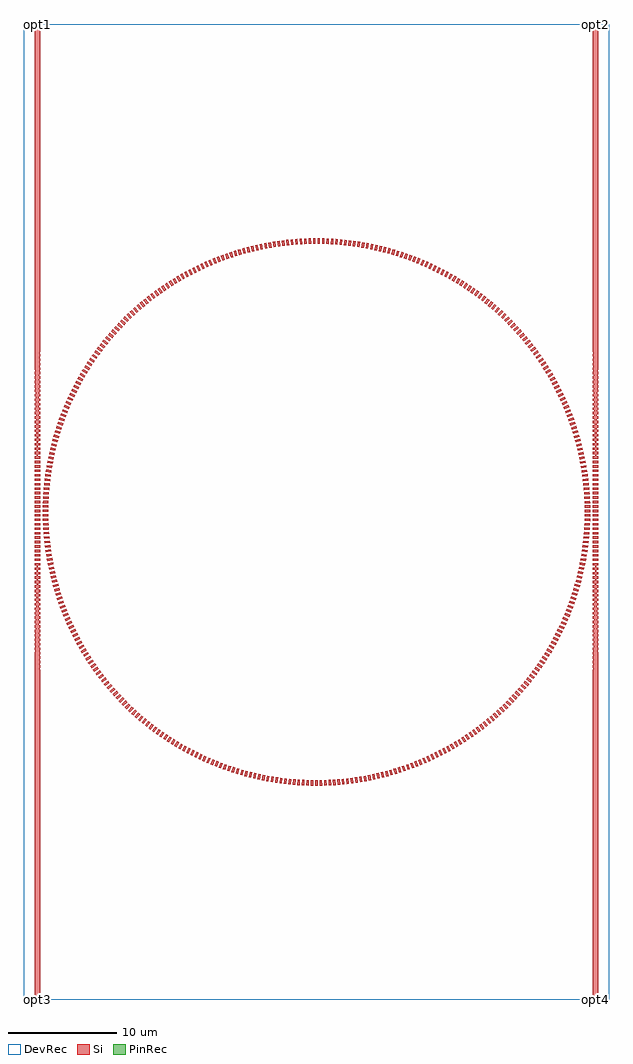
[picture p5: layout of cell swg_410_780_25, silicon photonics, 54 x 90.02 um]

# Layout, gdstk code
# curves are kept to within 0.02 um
import gdstk
lib = gdstk.Library(unit=1e-6, precision=1e-09)
def R(c, l, rs):  # rectangles x0, y0, x1, y1
    for r in rs: c.add(gdstk.rectangle(r[:2], r[2:], *l))
def A(c, l, x, y, w, h, nx, ny, dx, dy):  # array of equal rectangles
    R(c, l, [(x+i*dx, y+j*dy, x+i*dx+w, y+j*dy+h) for i in range(nx) for j in range(ny)])
def P(c, l, *ps):  # polygons
    for p in ps: c.add(gdstk.Polygon(p, *l))
Si = (1, 0)
PinRec = (1, 10)
DevRec = (68, 0)

swg_410_780_25 = lib.new_cell('swg_410_780_25')
A(swg_410_780_25, Si, 0, 40.49, 0.5, 0.205, 1, 23, 0, 0.41)
A(swg_410_780_25, Si, 51.5, 40.49, 0.5, 0.205, 1, 23, 0, 0.41)
P(swg_410_780_25, Si, [(25.894,19.758),(25.896,20.258),(26.099,20.258),(26.101,19.758)],
  [(36.879,67.222),(36.697,67.31),(36.913,67.761),(37.099,67.671)],
  [(37.242,67.04),(37.061,67.132),(37.285,67.579),(37.469,67.486)],
  [(39.01,66.045),(38.837,66.151),(39.097,66.579),(39.273,66.471)],
  [(36.513,67.397),(36.329,67.483),(36.538,67.937),(36.726,67.85)],
  [(51.5,49.92),(51.5,50.125),(51.716,50.125),(51.712,50.33),(51.5,50.33),(51.5,50.535),(51.707,50.535),(51.703,50.74),(51.5,50.74),(51.5,50.945),(51.698,50.945),(51.694,51.15),(51.5,51.15),(51.5,51.355),(51.689,51.355),(51.685,51.56),(51.5,51.56),(51.5,51.765),(51.68,51.765),(51.676,51.97),(51.5,51.97),(51.5,52.175),(51.671,52.175),(51.667,52.38),(51.5,52.38),(51.5,52.585),(51.662,52.585),(51.658,52.79),(51.5,52.79),(51.5,52.995),(51.653,52.995),(51.649,53.2),(51.5,53.2),(51.5,53.405),(51.644,53.405),(51.64,53.61),(51.5,53.61),(51.5,53.815),(51.635,53.815),(51.631,54.02),(51.5,54.02),(51.5,54.225),(51.626,54.225),(51.622,54.43),(51.5,54.43),(51.5,54.635),(51.617,54.635),(51.613,54.84),(51.5,54.84),(51.5,55.045),(51.608,55.045),(51.604,55.25),(51.5,55.25),(51.5,55.455),(51.599,55.455),(51.595,55.66),(51.5,55.66),(51.5,55.865),(51.59,55.865),(51.586,56.07),(51.5,56.07),(51.5,56.275),(51.581,56.275),(51.577,56.48),(51.5,56.48),(51.5,56.685),(51.572,56.685),(51.568,56.89),(51.5,56.89),(51.5,57.095),(51.563,57.095),(51.559,57.3),(51.5,57.3),(51.5,57.505),(51.554,57.505),(51.55,57.71),(51.5,57.71),(51.5,57.915),(51.545,57.915),(51.541,58.12),(51.5,58.12),(51.5,58.325),(51.536,58.325),(51.532,58.53),(51.5,58.53),(51.5,58.735),(51.527,58.735),(51.523,58.94),(51.5,58.94),(51.5,90),(52,90),(52,58.94),(51.977,58.94),(51.973,58.735),(52,58.735),(52,58.53),(51.968,58.53),(51.964,58.325),(52,58.325),(52,58.12),(51.959,58.12),(51.955,57.915),(52,57.915),(52,57.71),(51.95,57.71),(51.946,57.505),(52,57.505),(52,57.3),(51.941,57.3),(51.937,57.095),(52,57.095),(52,56.89),(51.932,56.89),(51.928,56.685),(52,56.685),(52,56.48),(51.923,56.48),(51.919,56.275),(52,56.275),(52,56.07),(51.914,56.07),(51.91,55.865),(52,55.865),(52,55.66),(51.905,55.66),(51.901,55.455),(52,55.455),(52,55.25),(51.896,55.25),(51.892,55.045),(52,55.045),(52,54.84),(51.887,54.84),(51.883,54.635),(52,54.635),(52,54.43),(51.878,54.43),(51.874,54.225),(52,54.225),(52,54.02),(51.869,54.02),(51.865,53.815),(52,53.815),(52,53.61),(51.86,53.61),(51.856,53.405),(52,53.405),(52,53.2),(51.851,53.2),(51.847,52.995),(52,52.995),(52,52.79),(51.842,52.79),(51.838,52.585),(52,52.585),(52,52.38),(51.833,52.38),(51.829,52.175),(52,52.175),(52,51.97),(51.824,51.97),(51.82,51.765),(52,51.765),(52,51.56),(51.815,51.56),(51.811,51.355),(52,51.355),(52,51.15),(51.806,51.15),(51.802,50.945),(52,50.945),(52,50.74),(51.797,50.74),(51.793,50.535),(52,50.535),(52,50.33),(51.788,50.33),(51.784,50.125),(52,50.125),(52,49.92)],
  [(29.138,69.542),(28.937,69.567),(28.996,70.064),(29.201,70.038)],
  [(31.929,69.021),(31.732,69.069),(31.848,69.555),(32.049,69.507)],
  [(29.54,69.488),(29.339,69.516),(29.407,70.011),(29.612,69.982)],
  [(27.117,69.717),(26.914,69.725),(26.932,70.225),(27.139,70.216)],
  [(27.927,69.667),(27.725,69.682),(27.759,70.181),(27.966,70.165)],
  [(33.492,68.581),(33.298,68.641),(33.446,69.119),(33.643,69.057)],
  [(31.138,69.203),(30.94,69.244),(31.039,69.734),(31.242,69.692)],
  [(35.399,67.887),(35.211,67.964),(35.397,68.428),(35.589,68.35)],
  [(33.878,68.455),(33.685,68.518),(33.84,68.994),(34.037,68.928)],
  [(27.522,69.695),(27.319,69.707),(27.346,70.206),(27.553,70.194)],
  [(28.735,69.59),(28.533,69.612),(28.584,70.109),(28.79,70.087)],
  [(31.535,69.115),(31.337,69.16),(31.444,69.648),(31.646,69.602)],
  [(32.714,68.814),(32.519,68.868),(32.65,69.35),(32.85,69.295)],
  [(26.711,69.732),(26.508,69.737),(26.518,70.237),(26.725,70.232)],
  [(30.741,69.284),(30.541,69.322),(30.633,69.813),(30.836,69.774)],
  [(34.261,68.322),(34.07,68.389),(34.233,68.862),(34.428,68.793)],
  [(34.643,68.183),(34.452,68.254),(34.623,68.724),(34.817,68.652)],
  [(35.773,67.73),(35.586,67.81),(35.78,68.271),(35.97,68.19)],
  [(33.104,68.7),(32.909,68.758),(33.049,69.238),(33.248,69.179)],
  [(28.331,69.632),(28.129,69.65),(28.172,70.148),(28.378,70.13)],
  [(35.022,68.039),(34.833,68.112),(35.011,68.579),(35.204,68.504)],
  [(29.941,69.426),(29.741,69.458),(29.817,69.952),(30.021,69.92)],
  [(30.342,69.358),(30.142,69.393),(30.225,69.886),(30.429,69.85)],
  [(32.323,68.921),(32.126,68.972),(32.25,69.456),(32.45,69.404)],
  [(26.305,69.74),(26.102,69.742),(26.104,70.242),(26.311,70.24)],
  [(36.144,67.567),(35.959,67.649),(36.16,68.107),(36.349,68.023)],
  [(38.663,66.256),(38.489,66.359),(38.741,66.791),(38.919,66.685)],
  [(37.959,66.66),(37.781,66.757),(38.019,67.197),(38.201,67.098)],
  [(38.313,66.461),(38.136,66.561),(38.382,66.997),(38.562,66.894)],
  [(37.602,66.853),(37.423,66.948),(37.654,67.391),(37.837,67.295)],
  [(50.622,47.431),(50.602,47.633),(51.099,47.687),(51.12,47.481)],
  [(39.354,65.829),(39.182,65.938),(39.449,66.361),(39.624,66.25)],
  [(44.572,61.348),(44.437,61.5),(44.81,61.833),(44.947,61.679)],
  [(48.525,55.236),(48.441,55.42),(48.894,55.631),(48.981,55.443)],
  [(50.729,45.812),(50.721,46.014),(51.221,46.035),(51.229,45.828)],
  [(46.992,58.096),(46.884,58.267),(47.306,58.536),(47.416,58.36)],
  [(43.46,62.531),(43.315,62.673),(43.665,63.031),(43.813,62.885)],
  [(44.025,61.949),(43.886,62.096),(44.247,62.441),(44.39,62.291)],
  [(47.411,57.4),(47.308,57.575),(47.739,57.829),(47.843,57.651)],
  [(49.148,53.737),(49.076,53.927),(49.542,54.107),(49.616,53.914)],
  [(50.473,48.64),(50.442,48.84),(50.936,48.918),(50.967,48.713)],
  [(42.273,63.638),(42.119,63.771),(42.445,64.15),(42.601,64.015)],
  [(46.775,58.438),(46.664,58.608),(47.081,58.883),(47.194,58.71)],
  [(50.264,49.839),(50.224,50.038),(50.713,50.14),(50.755,49.937)],
  [(46.088,59.444),(45.969,59.608),(46.373,59.904),(46.494,59.736)],
  [(49.288,53.356),(49.219,53.547),(49.688,53.72),(49.759,53.525)],
  [(46.551,58.777),(46.438,58.945),(46.851,59.227),(46.967,59.056)],
  [(50.092,50.633),(50.045,50.83),(50.531,50.948),(50.579,50.746)],
  [(50.689,46.622),(50.675,46.825),(51.173,46.862),(51.188,46.655)],
  [(43.745,62.242),(43.603,62.387),(43.959,62.738),(44.104,62.591)],
  [(47.995,56.332),(47.901,56.512),(48.343,56.744),(48.439,56.561)],
  [(49.002,54.116),(48.926,54.304),(49.389,54.492),(49.467,54.3)],
  [(50.739,45.406),(50.735,45.609),(51.234,45.621),(51.239,45.414)],
  [(45.098,60.73),(44.968,60.886),(45.352,61.207),(45.484,61.048)],
  [(50.182,50.237),(50.138,50.435),(50.626,50.545),(50.67,50.342)],
  [(41.336,64.416),(41.176,64.541),(41.483,64.936),(41.646,64.808)],
  [(50.742,45),(50.741,45.203),(51.241,45.207),(51.242,45)],
  [(48.178,55.969),(48.087,56.151),(48.533,56.376),(48.626,56.191)],
  [(44.837,61.041),(44.705,61.195),(45.083,61.523),(45.218,61.366)],
  [(49.422,52.973),(49.356,53.165),(49.828,53.33),(49.896,53.134)],
  [(49.55,52.588),(49.487,52.781),(49.962,52.938),(50.026,52.741)],
  [(49.997,51.027),(49.947,51.224),(50.43,51.349),(50.482,51.149)],
  [(50.712,46.217),(50.701,46.42),(51.201,46.449),(51.212,46.242)],
  [(41.652,64.162),(41.495,64.289),(41.808,64.679),(41.969,64.549)],
  [(45.849,59.772),(45.727,59.934),(46.125,60.236),(46.25,60.07)],
  [(50.41,49.041),(50.376,49.241),(50.869,49.326),(50.903,49.122)],
  [(40.362,65.147),(40.197,65.264),(40.483,65.674),(40.653,65.554)],
  [(48.69,54.865),(48.609,55.051),(49.066,55.254),(49.149,55.065)],
  [(40.691,64.909),(40.527,65.028),(40.821,65.433),(40.988,65.311)],
  [(49.895,51.42),(49.841,51.616),(50.323,51.749),(50.378,51.55)],
  [(47.611,57.047),(47.511,57.224),(47.946,57.471),(48.048,57.291)],
  [(45.353,60.415),(45.226,60.573),(45.615,60.888),(45.745,60.726)],
  [(48.354,55.604),(48.267,55.787),(48.717,56.005),(48.806,55.818)],
  [(50.529,48.238),(50.502,48.439),(50.997,48.508),(51.025,48.303)],
  [(48.849,54.492),(48.77,54.679),(49.231,54.874),(49.311,54.683)],
  [(39.694,65.607),(39.524,65.719),(39.797,66.137),(39.97,66.024)],
  [(45.604,60.095),(45.479,60.256),(45.873,60.564),(46,60.4)],
  [(50.659,47.027),(50.641,47.229),(51.139,47.274),(51.157,47.068)],
  [(41.965,63.902),(41.809,64.033),(42.129,64.417),(42.287,64.284)],
  [(43.17,62.815),(43.023,62.955),(43.367,63.318),(43.517,63.175)],
  [(47.204,57.75),(47.099,57.923),(47.525,58.184),(47.633,58.007)],
  [(40.03,65.38),(39.862,65.494),(40.142,65.908),(40.313,65.792)],
  [(42.875,63.094),(42.726,63.232),(43.064,63.6),(43.216,63.46)],
  [(44.301,61.651),(44.164,61.8),(44.531,62.14),(44.671,61.987)],
  [(46.323,59.113),(46.206,59.279),(46.614,59.567),(46.733,59.398)],
  [(42.576,63.369),(42.425,63.504),(42.757,63.878),(42.911,63.74)],
  [(49.786,51.811),(49.729,52.006),(50.209,52.147),(50.267,51.949)],
  [(41.015,64.665),(40.854,64.787),(41.154,65.187),(41.319,65.062)],
  [(50.34,49.441),(50.303,49.64),(50.794,49.734),(50.832,49.53)],
  [(49.671,52.2),(49.611,52.394),(50.089,52.544),(50.15,52.346)],
  [(50.579,47.835),(50.555,48.036),(51.051,48.098),(51.076,47.892)],
  [(47.806,56.691),(47.709,56.87),(48.148,57.109),(48.246,56.927)],
  [(14.759,67.041),(14.532,67.487),(14.717,67.58),(14.94,67.133)],
  [(15.488,67.398),(15.276,67.851),(15.464,67.938),(15.672,67.484)],
  [(15.122,67.223),(14.903,67.672),(15.089,67.762),(15.305,67.311)],
  [(12.991,66.046),(12.728,66.472),(12.905,66.58),(13.164,66.152)],
  [(0,49.92),(0,50.125),(0.216,50.125),(0.212,50.33),(0,50.33),(0,50.535),(0.207,50.535),(0.203,50.74),(0,50.74),(0,50.945),(0.198,50.945),(0.194,51.15),(0,51.15),(0,51.355),(0.189,51.355),(0.185,51.56),(0,51.56),(0,51.765),(0.18,51.765),(0.176,51.97),(0,51.97),(0,52.175),(0.171,52.175),(0.167,52.38),(0,52.38),(0,52.585),(0.162,52.585),(0.158,52.79),(0,52.79),(0,52.995),(0.153,52.995),(0.149,53.2),(0,53.2),(0,53.405),(0.144,53.405),(0.14,53.61),(0,53.61),(0,53.815),(0.135,53.815),(0.131,54.02),(0,54.02),(0,54.225),(0.126,54.225),(0.122,54.43),(0,54.43),(0,54.635),(0.117,54.635),(0.113,54.84),(0,54.84),(0,55.045),(0.108,55.045),(0.104,55.25),(0,55.25),(0,55.455),(0.099,55.455),(0.095,55.66),(0,55.66),(0,55.865),(0.09,55.865),(0.086,56.07),(0,56.07),(0,56.275),(0.081,56.275),(0.077,56.48),(0,56.48),(0,56.685),(0.072,56.685),(0.068,56.89),(0,56.89),(0,57.095),(0.063,57.095),(0.059,57.3),(0,57.3),(0,57.505),(0.054,57.505),(0.05,57.71),(0,57.71),(0,57.915),(0.045,57.915),(0.041,58.12),(0,58.12),(0,58.325),(0.036,58.325),(0.032,58.53),(0,58.53),(0,58.735),(0.027,58.735),(0.023,58.94),(0,58.94),(0,90),(0.5,90),(0.5,58.94),(0.477,58.94),(0.473,58.735),(0.5,58.735),(0.5,58.53),(0.468,58.53),(0.464,58.325),(0.5,58.325),(0.5,58.12),(0.459,58.12),(0.455,57.915),(0.5,57.915),(0.5,57.71),(0.45,57.71),(0.446,57.505),(0.5,57.505),(0.5,57.3),(0.441,57.3),(0.437,57.095),(0.5,57.095),(0.5,56.89),(0.432,56.89),(0.428,56.685),(0.5,56.685),(0.5,56.48),(0.423,56.48),(0.419,56.275),(0.5,56.275),(0.5,56.07),(0.414,56.07),(0.41,55.865),(0.5,55.865),(0.5,55.66),(0.405,55.66),(0.401,55.455),(0.5,55.455),(0.5,55.25),(0.396,55.25),(0.392,55.045),(0.5,55.045),(0.5,54.84),(0.387,54.84),(0.383,54.635),(0.5,54.635),(0.5,54.43),(0.378,54.43),(0.374,54.225),(0.5,54.225),(0.5,54.02),(0.369,54.02),(0.365,53.815),(0.5,53.815),(0.5,53.61),(0.36,53.61),(0.356,53.405),(0.5,53.405),(0.5,53.2),(0.351,53.2),(0.347,52.995),(0.5,52.995),(0.5,52.79),(0.342,52.79),(0.338,52.585),(0.5,52.585),(0.5,52.38),(0.333,52.38),(0.329,52.175),(0.5,52.175),(0.5,51.97),(0.324,51.97),(0.32,51.765),(0.5,51.765),(0.5,51.56),(0.315,51.56),(0.311,51.355),(0.5,51.355),(0.5,51.15),(0.306,51.15),(0.302,50.945),(0.5,50.945),(0.5,50.74),(0.297,50.74),(0.293,50.535),(0.5,50.535),(0.5,50.33),(0.288,50.33),(0.284,50.125),(0.5,50.125),(0.5,49.92)],
  [(17.74,68.323),(17.573,68.794),(17.769,68.862),(17.932,68.39)],
  [(19.287,68.814),(19.152,69.295),(19.351,69.351),(19.483,68.868)],
  [(25.696,69.74),(25.69,70.24),(25.897,70.242),(25.899,69.742)],
  [(18.51,68.581),(18.358,69.058),(18.556,69.12),(18.704,68.642)],
  [(23.67,69.632),(23.623,70.13),(23.83,70.149),(23.873,69.65)],
  [(15.857,67.568),(15.652,68.024),(15.841,68.108),(16.043,67.65)],
  [(17.359,68.184),(17.184,68.653),(17.379,68.724),(17.549,68.254)],
  [(24.885,69.717),(24.863,70.216),(25.069,70.225),(25.088,69.725)],
  [(24.48,69.695),(24.449,70.194),(24.656,70.206),(24.682,69.707)],
  [(16.98,68.039),(16.797,68.505),(16.991,68.579),(17.169,68.112)],
  [(16.229,67.731),(16.031,68.19),(16.222,68.271),(16.416,67.81)],
  [(23.267,69.591),(23.211,70.088),(23.417,70.11),(23.468,69.612)],
  [(18.898,68.701),(18.754,69.18),(18.953,69.238),(19.092,68.758)],
  [(22.06,69.426),(21.981,69.92),(22.185,69.952),(22.261,69.458)],
  [(18.124,68.455),(17.965,68.929),(18.161,68.994),(18.317,68.519)],
  [(19.679,68.921),(19.551,69.404),(19.752,69.457),(19.875,68.972)],
  [(25.291,69.732),(25.276,70.232),(25.483,70.237),(25.494,69.737)],
  [(21.261,69.284),(21.165,69.775),(21.369,69.814),(21.46,69.322)],
  [(16.603,67.888),(16.413,68.351),(16.605,68.429),(16.791,67.964)],
  [(22.462,69.488),(22.39,69.983),(22.595,70.011),(22.662,69.516)],
  [(22.864,69.543),(22.8,70.038),(23.006,70.064),(23.065,69.567)],
  [(21.66,69.359),(21.572,69.851),(21.776,69.886),(21.86,69.393)],
  [(20.072,69.022),(19.952,69.507),(20.154,69.556),(20.269,69.069)],
  [(20.863,69.203),(20.76,69.692),(20.962,69.734),(21.062,69.244)],
  [(24.075,69.667),(24.036,70.166),(24.242,70.181),(24.277,69.682)],
  [(20.467,69.116),(20.355,69.603),(20.557,69.648),(20.665,69.16)],
  [(1.471,48.24),(0.975,48.305),(1.003,48.51),(1.498,48.441)],
  [(4.59,57.402),(4.158,57.652),(4.262,57.831),(4.693,57.577)],
  [(1.378,47.433),(0.88,47.482),(0.901,47.688),(1.399,47.635)],
  [(1.819,50.238),(1.33,50.344),(1.375,50.546),(1.863,50.437)],
  [(5.226,58.44),(4.807,58.711),(4.92,58.885),(5.337,58.61)],
  [(7.429,61.35),(7.054,61.68),(7.192,61.835),(7.564,61.501)],
  [(10.349,64.163),(10.033,64.55),(10.194,64.68),(10.507,64.291)],
  [(2.578,52.975),(2.105,53.136),(2.172,53.331),(2.644,53.166)],
  [(6.397,60.097),(6.001,60.402),(6.128,60.565),(6.522,60.257)],
  [(12.308,65.608),(12.031,66.025),(12.204,66.138),(12.477,65.72)],
  [(8.542,62.532),(8.189,62.886),(8.336,63.032),(8.686,62.675)],
  [(3.31,54.867),(2.852,55.066),(2.935,55.256),(3.392,55.053)],
  [(8.256,62.243),(7.898,62.592),(8.043,62.74),(8.398,62.388)],
  [(2.852,53.739),(2.385,53.915),(2.459,54.109),(2.925,53.928)],
  [(1.311,46.624),(0.812,46.657),(0.827,46.863),(1.325,46.827)],
  [(4.39,57.049),(3.953,57.292),(4.055,57.473),(4.489,57.226)],
  [(2.329,52.202),(1.851,52.348),(1.912,52.545),(2.389,52.396)],
  [(11.311,64.91),(11.014,65.312),(11.181,65.434),(11.474,65.029)],
  [(4.195,56.693),(3.754,56.929),(3.853,57.111),(4.292,56.871)],
  [(10.665,64.417),(10.355,64.809),(10.518,64.937),(10.825,64.542)],
  [(5.45,58.779),(5.034,59.057),(5.15,59.229),(5.563,58.947)],
  [(7.7,61.652),(7.33,61.988),(7.47,62.141),(7.837,61.802)],
  [(7.164,61.043),(6.783,61.367),(6.918,61.524),(7.296,61.197)],
  [(5.913,59.445),(5.507,59.737),(5.628,59.905),(6.032,59.61)],
  [(9.126,63.095),(8.785,63.461),(8.937,63.602),(9.275,63.233)],
  [(11.972,65.381),(11.688,65.793),(11.859,65.909),(12.139,65.495)],
  [(1.908,50.634),(1.421,50.748),(1.469,50.95),(1.955,50.832)],
  [(1.421,47.837),(0.924,47.894),(0.949,48.1),(1.445,48.038)],
  [(1.341,47.029),(0.843,47.07),(0.861,47.276),(1.359,47.231)],
  [(5.678,59.114),(5.268,59.399),(5.387,59.569),(5.795,59.28)],
  [(0.758,45.002),(0.759,45.209),(1.259,45.205),(1.258,45.002)],
  [(3.646,55.606),(3.195,55.82),(3.284,56.007),(3.734,55.789)],
  [(6.152,59.773),(5.751,60.072),(5.876,60.237),(6.274,59.935)],
  [(11.639,65.148),(11.349,65.555),(11.518,65.675),(11.805,65.265)],
  [(7.976,61.95),(7.612,62.292),(7.754,62.443),(8.115,62.097)],
  [(5.009,58.097),(4.585,58.362),(4.695,58.537),(5.117,58.269)],
  [(3.823,55.971),(3.375,56.193),(3.468,56.378),(3.914,56.153)],
  [(1.288,46.219),(0.789,46.244),(0.8,46.45),(1.299,46.422)],
  [(1.66,49.442),(1.168,49.532),(1.206,49.736),(1.697,49.642)],
  [(10.037,63.904),(9.714,64.286),(9.873,64.418),(10.192,64.034)],
  [(1.271,45.813),(0.772,45.83),(0.779,46.037),(1.279,46.016)],
  [(2.451,52.589),(1.975,52.743),(2.039,52.939),(2.514,52.782)],
  [(1.736,49.841),(1.246,49.939),(1.287,50.142),(1.777,50.04)],
  [(2.214,51.813),(1.734,51.95),(1.791,52.149),(2.271,52.008)],
  [(2.999,54.117),(2.534,54.301),(2.611,54.494),(3.074,54.306)],
  [(4.797,57.751),(4.368,58.009),(4.476,58.186),(4.902,57.925)],
  [(6.648,60.416),(6.257,60.728),(6.386,60.889),(6.775,60.574)],
  [(3.152,54.493),(2.69,54.685),(2.77,54.876),(3.23,54.68)],
  [(2.004,51.029),(1.519,51.151),(1.57,51.351),(2.054,51.225)],
  [(1.261,45.408),(0.761,45.416),(0.766,45.623),(1.265,45.611)],
  [(4.006,56.333),(3.562,56.562),(3.657,56.746),(4.1,56.513)],
  [(12.648,65.83),(12.378,66.251),(12.553,66.362),(12.819,65.939)],
  [(9.729,63.639),(9.4,64.016),(9.556,64.151),(9.882,63.772)],
  [(8.831,62.816),(8.485,63.176),(8.634,63.319),(8.978,62.956)],
  [(6.903,60.732),(6.517,61.049),(6.65,61.209),(7.033,60.888)],
  [(2.106,51.422),(1.623,51.551),(1.677,51.751),(2.159,51.617)],
  [(10.986,64.666),(10.683,65.063),(10.848,65.188),(11.148,64.788)],
  [(1.527,48.641),(1.033,48.715),(1.064,48.92),(1.558,48.842)],
  [(1.59,49.042),(1.097,49.124),(1.132,49.328),(1.624,49.243)],
  [(9.425,63.37),(9.09,63.741),(9.244,63.879),(9.576,63.505)],
  [(2.712,53.358),(2.242,53.527),(2.312,53.721),(2.782,53.548)],
  [(3.475,55.238),(3.02,55.445),(3.107,55.633),(3.56,55.422)],
  [(13.689,66.462),(13.44,66.895),(13.62,66.998),(13.865,66.562)],
  [(14.042,66.661),(13.801,67.098),(13.982,67.198),(14.22,66.758)],
  [(14.399,66.854),(14.165,67.296),(14.348,67.392),(14.579,66.948)],
  [(13.338,66.257),(13.082,66.686),(13.261,66.792),(13.513,66.36)],
  [(0,0),(0,31.265),(0.023,31.265),(0.027,31.47),(0,31.47),(0,31.675),(0.032,31.675),(0.036,31.88),(0,31.88),(0,32.085),(0.041,32.085),(0.045,32.29),(0,32.29),(0,32.495),(0.05,32.495),(0.054,32.7),(0,32.7),(0,32.905),(0.059,32.905),(0.063,33.11),(0,33.11),(0,33.315),(0.068,33.315),(0.072,33.52),(0,33.52),(0,33.725),(0.077,33.725),(0.081,33.93),(0,33.93),(0,34.135),(0.086,34.135),(0.09,34.34),(0,34.34),(0,34.545),(0.095,34.545),(0.099,34.75),(0,34.75),(0,34.955),(0.104,34.955),(0.108,35.16),(0,35.16),(0,35.365),(0.113,35.365),(0.117,35.57),(0,35.57),(0,35.775),(0.122,35.775),(0.126,35.98),(0,35.98),(0,36.185),(0.131,36.185),(0.135,36.39),(0,36.39),(0,36.595),(0.14,36.595),(0.144,36.8),(0,36.8),(0,37.005),(0.149,37.005),(0.153,37.21),(0,37.21),(0,37.415),(0.158,37.415),(0.162,37.62),(0,37.62),(0,37.825),(0.167,37.825),(0.171,38.03),(0,38.03),(0,38.235),(0.176,38.235),(0.18,38.44),(0,38.44),(0,38.645),(0.185,38.645),(0.189,38.85),(0,38.85),(0,39.055),(0.194,39.055),(0.198,39.26),(0,39.26),(0,39.465),(0.203,39.465),(0.207,39.67),(0,39.67),(0,39.875),(0.212,39.875),(0.216,40.08),(0,40.08),(0,40.285),(0.5,40.285),(0.5,40.08),(0.284,40.08),(0.288,39.875),(0.5,39.875),(0.5,39.67),(0.293,39.67),(0.297,39.465),(0.5,39.465),(0.5,39.26),(0.302,39.26),(0.306,39.055),(0.5,39.055),(0.5,38.85),(0.311,38.85),(0.315,38.645),(0.5,38.645),(0.5,38.44),(0.32,38.44),(0.324,38.235),(0.5,38.235),(0.5,38.03),(0.329,38.03),(0.333,37.825),(0.5,37.825),(0.5,37.62),(0.338,37.62),(0.342,37.415),(0.5,37.415),(0.5,37.21),(0.347,37.21),(0.351,37.005),(0.5,37.005),(0.5,36.8),(0.356,36.8),(0.36,36.595),(0.5,36.595),(0.5,36.39),(0.365,36.39),(0.369,36.185),(0.5,36.185),(0.5,35.98),(0.374,35.98),(0.378,35.775),(0.5,35.775),(0.5,35.57),(0.383,35.57),(0.387,35.365),(0.5,35.365),(0.5,35.16),(0.392,35.16),(0.396,34.955),(0.5,34.955),(0.5,34.75),(0.401,34.75),(0.405,34.545),(0.5,34.545),(0.5,34.34),(0.41,34.34),(0.414,34.135),(0.5,34.135),(0.5,33.93),(0.419,33.93),(0.423,33.725),(0.5,33.725),(0.5,33.52),(0.428,33.52),(0.432,33.315),(0.5,33.315),(0.5,33.11),(0.437,33.11),(0.441,32.905),(0.5,32.905),(0.5,32.7),(0.446,32.7),(0.45,32.495),(0.5,32.495),(0.5,32.29),(0.455,32.29),(0.459,32.085),(0.5,32.085),(0.5,31.88),(0.464,31.88),(0.468,31.675),(0.5,31.675),(0.5,31.47),(0.473,31.47),(0.477,31.265),(0.5,31.265),(0.5,0)],
  [(15.273,22.151),(15.086,22.239),(15.302,22.69),(15.485,22.603)],
  [(14.899,22.33),(14.714,22.422),(14.937,22.869),(15.119,22.779)],
  [(15.649,21.978),(15.461,22.064),(15.669,22.518),(15.854,22.434)],
  [(13.079,23.315),(12.902,23.422),(13.161,23.85),(13.335,23.745)],
  [(14.529,22.515),(14.345,22.61),(14.576,23.053),(14.756,22.96)],
  [(13.798,22.903),(13.617,23.004),(13.862,23.44),(14.039,23.341)],
  [(14.162,22.706),(13.979,22.804),(14.217,23.244),(14.396,23.148)],
  [(13.437,23.106),(13.258,23.21),(13.51,23.642),(13.686,23.54)],
  [(3.374,33.81),(3.282,33.996),(3.732,34.214),(3.822,34.032)],
  [(1.329,39.659),(1.286,39.862),(1.776,39.964),(1.818,39.765)],
  [(1.245,40.065),(1.205,40.268),(1.697,40.362),(1.735,40.162)],
  [(4.805,31.292),(4.693,31.466),(5.115,31.734),(5.224,31.563)],
  [(3.951,32.711),(3.851,32.892),(4.29,33.132),(4.388,32.954)],
  [(3.56,33.441),(3.466,33.625),(3.912,33.851),(4.005,33.67)],
  [(1.097,40.879),(1.064,41.084),(1.557,41.161),(1.59,40.961)],
  [(2.383,36.088),(2.311,36.282),(2.78,36.455),(2.851,36.265)],
  [(0.812,43.347),(0.799,43.553),(1.299,43.582),(1.311,43.379)],
  [(4.156,32.351),(4.053,32.53),(4.488,32.777),(4.589,32.601)],
  [(3.019,34.559),(2.934,34.748),(3.391,34.951),(3.474,34.766)],
  [(6.515,28.953),(6.384,29.114),(6.773,29.428),(6.901,29.271)],
  [(5.505,30.265),(5.385,30.434),(5.793,30.723),(5.911,30.557)],
  [(10.68,24.939),(10.516,25.065),(10.822,25.46),(10.983,25.336)],
  [(11.346,24.447),(11.178,24.568),(11.472,24.973),(11.636,24.854)],
  [(5.999,29.601),(5.873,29.766),(6.272,30.067),(6.395,29.906)],
  [(0.975,41.699),(0.948,41.904),(1.445,41.965),(1.47,41.764)],
  [(1.85,37.656),(1.79,37.854),(2.27,37.996),(2.328,37.801)],
  [(9.088,26.261),(8.934,26.401),(9.272,26.769),(9.423,26.633)],
  [(1.518,38.853),(1.468,39.054),(1.954,39.172),(2.003,38.975)],
  [(4.583,31.641),(4.474,31.817),(4.9,32.078),(5.007,31.906)],
  [(7.052,28.323),(6.916,28.479),(7.294,28.806),(7.427,28.653)],
  [(8.482,26.826),(8.333,26.971),(8.683,27.328),(8.829,27.186)],
  [(1.42,39.255),(1.374,39.457),(1.862,39.567),(1.907,39.369)],
  [(0.843,42.934),(0.827,43.14),(1.325,43.177),(1.341,42.975)],
  [(7.328,28.014),(7.189,28.168),(7.562,28.501),(7.698,28.351)],
  [(0.761,44.588),(0.759,44.795),(1.259,44.799),(1.261,44.596)],
  [(9.397,25.987),(9.242,26.123),(9.574,26.497),(9.726,26.363)],
  [(0.788,43.76),(0.779,43.967),(1.279,43.987),(1.288,43.785)],
  [(12.028,23.977),(11.856,24.093),(12.136,24.507),(12.305,24.394)],
  [(11.011,24.69),(10.845,24.814),(11.145,25.214),(11.308,25.092)],
  [(2.688,35.318),(2.61,35.51),(3.073,35.698),(3.15,35.51)],
  [(2.85,34.937),(2.769,35.127),(3.229,35.323),(3.309,35.136)],
  [(10.03,25.452),(9.87,25.584),(10.19,25.968),(10.346,25.839)],
  [(5.032,30.946),(4.918,31.118),(5.335,31.393),(5.448,31.224)],
  [(0.88,42.521),(0.86,42.727),(1.358,42.772),(1.377,42.57)],
  [(5.749,29.931),(5.626,30.098),(6.03,30.393),(6.15,30.23)],
  [(0.924,42.109),(0.901,42.315),(1.398,42.368),(1.421,42.167)],
  [(6.254,29.275),(6.126,29.438),(6.52,29.746),(6.645,29.587)],
  [(7.609,27.71),(7.468,27.862),(7.835,28.201),(7.973,28.053)],
  [(4.366,31.994),(4.26,32.172),(4.691,32.426),(4.795,32.252)],
  [(1.733,38.053),(1.677,38.252),(2.158,38.386),(2.213,38.191)],
  [(1.974,37.261),(1.911,37.458),(2.388,37.607),(2.45,37.414)],
  [(9.711,25.717),(9.554,25.851),(9.88,26.23),(10.034,26.099)],
  [(1.167,40.471),(1.131,40.675),(1.624,40.761),(1.659,40.561)],
  [(8.186,27.116),(8.04,27.263),(8.396,27.614),(8.539,27.47)],
  [(1.032,41.288),(1.003,41.493),(1.498,41.563),(1.527,41.362)],
  [(0.771,44.174),(0.765,44.381),(1.265,44.393),(1.271,44.19)],
  [(10.353,25.193),(10.191,25.322),(10.504,25.712),(10.663,25.585)],
  [(12.725,23.53),(12.55,23.64),(12.816,24.063),(12.988,23.956)],
  [(2.24,36.477),(2.171,36.672),(2.643,36.837),(2.711,36.646)],
  [(2.104,36.868),(2.038,37.064),(2.513,37.221),(2.577,37.029)],
  [(12.375,23.751),(12.201,23.863),(12.474,24.282),(12.645,24.172)],
  [(1.622,38.452),(1.569,38.652),(2.053,38.778),(2.105,38.582)],
  [(5.266,30.604),(5.148,30.774),(5.561,31.056),(5.676,30.889)],
  [(2.533,35.702),(2.457,35.895),(2.924,36.075),(2.998,35.886)],
  [(7.895,27.411),(7.752,27.56),(8.113,27.905),(8.254,27.759)],
  [(3.753,33.074),(3.656,33.257),(4.098,33.49),(4.193,33.31)],
  [(8.782,26.541),(8.632,26.683),(8.976,27.046),(9.123,26.907)],
  [(11.685,24.209),(11.515,24.328),(11.802,24.737),(11.969,24.621)],
  [(6.781,28.636),(6.647,28.794),(7.031,29.115),(7.162,28.96)],
  [(3.193,34.183),(3.105,34.371),(3.559,34.581),(3.645,34.397)],
  [(19.949,20.494),(19.748,20.544),(19.872,21.029),(20.069,20.979)],
  [(20.756,20.309),(20.554,20.352),(20.662,20.841),(20.86,20.798)],
  [(16.028,21.811),(15.838,21.894),(16.039,22.351),(16.226,22.27)],
  [(16.794,21.496),(16.602,21.573),(16.788,22.037),(16.976,21.962)],
  [(18.355,20.943),(18.158,21.007),(18.313,21.482),(18.507,21.42)],
  [(25.273,19.768),(25.066,19.775),(25.084,20.275),(25.287,20.268)],
  [(21.162,20.226),(20.959,20.266),(21.059,20.756),(21.258,20.717)],
  [(23.208,19.913),(23.002,19.937),(23.062,20.433),(23.263,20.41)],
  [(20.352,20.398),(20.15,20.445),(20.266,20.931),(20.464,20.885)],
  [(24.859,19.784),(24.652,19.794),(24.679,20.293),(24.882,20.283)],
  [(17.181,21.349),(16.987,21.422),(17.166,21.889),(17.356,21.817)],
  [(18.751,20.821),(18.553,20.882),(18.7,21.359),(18.894,21.3)],
  [(21.569,20.15),(21.365,20.187),(21.457,20.679),(21.657,20.642)],
  [(19.548,20.596),(19.348,20.65),(19.48,21.133),(19.676,21.08)],
  [(19.148,20.706),(18.949,20.763),(19.089,21.243),(19.284,21.187)],
  [(21.977,20.081),(21.773,20.114),(21.857,20.607),(22.057,20.574)],
  [(25.687,19.76),(25.48,19.763),(25.49,20.263),(25.693,20.26)],
  [(24.445,19.806),(24.239,19.819),(24.274,20.318),(24.476,20.305)],
  [(16.41,21.651),(16.219,21.73),(16.412,22.191),(16.6,22.113)],
  [(17.57,21.207),(17.375,21.277),(17.546,21.747),(17.737,21.678)],
  [(17.961,21.072),(17.765,21.139),(17.929,21.611),(18.121,21.546)],
  [(23.62,19.87),(23.414,19.891),(23.465,20.388),(23.667,20.368)],
  [(24.032,19.835),(23.826,19.852),(23.869,20.35),(24.071,20.333)],
  [(22.797,19.962),(22.592,19.989),(22.659,20.485),(22.86,20.458)],
  [(22.386,20.018),(22.182,20.048),(22.257,20.543),(22.458,20.513)],
  [(36.722,22.148),(36.51,22.601),(36.693,22.688),(36.91,22.237)],
  [(36.346,21.976),(36.141,22.432),(36.326,22.516),(36.535,22.061)],
  [(37.096,22.327),(36.876,22.777),(37.058,22.866),(37.281,22.419)],
  [(38.916,23.313),(38.66,23.742),(38.834,23.847),(39.094,23.419)],
  [(51.5,0),(51.5,31.265),(51.523,31.265),(51.527,31.47),(51.5,31.47),(51.5,31.675),(51.532,31.675),(51.536,31.88),(51.5,31.88),(51.5,32.085),(51.541,32.085),(51.545,32.29),(51.5,32.29),(51.5,32.495),(51.55,32.495),(51.554,32.7),(51.5,32.7),(51.5,32.905),(51.559,32.905),(51.563,33.11),(51.5,33.11),(51.5,33.315),(51.568,33.315),(51.572,33.52),(51.5,33.52),(51.5,33.725),(51.577,33.725),(51.581,33.93),(51.5,33.93),(51.5,34.135),(51.586,34.135),(51.59,34.34),(51.5,34.34),(51.5,34.545),(51.595,34.545),(51.599,34.75),(51.5,34.75),(51.5,34.955),(51.604,34.955),(51.608,35.16),(51.5,35.16),(51.5,35.365),(51.613,35.365),(51.617,35.57),(51.5,35.57),(51.5,35.775),(51.622,35.775),(51.626,35.98),(51.5,35.98),(51.5,36.185),(51.631,36.185),(51.635,36.39),(51.5,36.39),(51.5,36.595),(51.64,36.595),(51.644,36.8),(51.5,36.8),(51.5,37.005),(51.649,37.005),(51.653,37.21),(51.5,37.21),(51.5,37.415),(51.658,37.415),(51.662,37.62),(51.5,37.62),(51.5,37.825),(51.667,37.825),(51.671,38.03),(51.5,38.03),(51.5,38.235),(51.676,38.235),(51.68,38.44),(51.5,38.44),(51.5,38.645),(51.685,38.645),(51.689,38.85),(51.5,38.85),(51.5,39.055),(51.694,39.055),(51.698,39.26),(51.5,39.26),(51.5,39.465),(51.703,39.465),(51.707,39.67),(51.5,39.67),(51.5,39.875),(51.712,39.875),(51.716,40.08),(51.5,40.08),(51.5,40.285),(52,40.285),(52,40.08),(51.784,40.08),(51.788,39.875),(52,39.875),(52,39.67),(51.793,39.67),(51.797,39.465),(52,39.465),(52,39.26),(51.802,39.26),(51.806,39.055),(52,39.055),(52,38.85),(51.811,38.85),(51.815,38.645),(52,38.645),(52,38.44),(51.82,38.44),(51.824,38.235),(52,38.235),(52,38.03),(51.829,38.03),(51.833,37.825),(52,37.825),(52,37.62),(51.838,37.62),(51.842,37.415),(52,37.415),(52,37.21),(51.847,37.21),(51.851,37.005),(52,37.005),(52,36.8),(51.856,36.8),(51.86,36.595),(52,36.595),(52,36.39),(51.865,36.39),(51.869,36.185),(52,36.185),(52,35.98),(51.874,35.98),(51.878,35.775),(52,35.775),(52,35.57),(51.883,35.57),(51.887,35.365),(52,35.365),(52,35.16),(51.892,35.16),(51.896,34.955),(52,34.955),(52,34.75),(51.901,34.75),(51.905,34.545),(52,34.545),(52,34.34),(51.91,34.34),(51.914,34.135),(52,34.135),(52,33.93),(51.919,33.93),(51.923,33.725),(52,33.725),(52,33.52),(51.928,33.52),(51.932,33.315),(52,33.315),(52,33.11),(51.937,33.11),(51.941,32.905),(52,32.905),(52,32.7),(51.946,32.7),(51.95,32.495),(52,32.495),(52,32.29),(51.955,32.29),(51.959,32.085),(52,32.085),(52,31.88),(51.964,31.88),(51.968,31.675),(52,31.675),(52,31.47),(51.973,31.47),(51.977,31.265),(52,31.265),(52,0)],
  [(50.67,39.654),(50.181,39.76),(50.223,39.958),(50.713,39.857)],
  [(48.979,34.554),(48.524,34.761),(48.607,34.946),(49.064,34.743)],
  [(40.31,24.206),(40.027,24.618),(40.194,24.734),(40.481,24.324)],
  [(46.965,30.941),(46.549,31.22),(46.662,31.389),(47.079,31.114)],
  [(50.266,38.048),(49.785,38.186),(49.84,38.381),(50.322,38.247)],
  [(47.415,31.637),(46.99,31.901),(47.097,32.074),(47.523,31.813)],
  [(41.966,25.449),(41.65,25.836),(41.806,25.965),(42.126,25.58)],
  [(47.631,31.99),(47.202,32.247),(47.306,32.422),(47.737,32.168)],
  [(48.805,34.178),(48.353,34.393),(48.439,34.576),(48.893,34.366)],
  [(46.492,30.261),(46.086,30.553),(46.204,30.718),(46.612,30.43)],
  [(48.046,32.706),(47.609,32.95),(47.707,33.127),(48.146,32.887)],
  [(42.599,25.983),(42.27,26.36),(42.422,26.494),(42.754,26.12)],
  [(48.437,33.436),(47.993,33.665),(48.085,33.846),(48.532,33.62)],
  [(48.245,33.07),(47.804,33.306),(47.899,33.485),(48.342,33.252)],
  [(50.377,38.447),(49.894,38.577),(49.946,38.773),(50.43,38.647)],
  [(51.239,44.582),(50.739,44.591),(50.741,44.794),(51.241,44.789)],
  [(39.27,23.528),(39.007,23.953),(39.18,24.06),(39.446,23.637)],
  [(39.967,23.974),(39.691,24.391),(39.859,24.504),(40.139,24.09)],
  [(51.228,44.168),(50.729,44.185),(50.735,44.388),(51.234,44.375)],
  [(49.465,35.697),(49,35.881),(49.074,36.07),(49.541,35.89)],
  [(43.81,27.112),(43.457,27.467),(43.6,27.61),(43.956,27.259)],
  [(49.758,36.472),(49.287,36.641),(49.355,36.832),(49.827,36.667)],
  [(42.285,25.713),(41.962,26.095),(42.117,26.227),(42.442,25.848)],
  [(50.754,40.059),(50.264,40.157),(50.302,40.356),(50.794,40.263)],
  [(51.188,43.341),(50.689,43.374),(50.701,43.577),(51.2,43.548)],
  [(40.65,24.444),(40.359,24.851),(40.524,24.97),(40.818,24.565)],
  [(46.731,30.599),(46.321,30.885),(46.436,31.052),(46.849,30.77)],
  [(44.668,28.01),(44.299,28.347),(44.435,28.497),(44.807,28.164)],
  [(51.157,42.928),(50.659,42.969),(50.674,43.172),(51.173,43.135)],
  [(45.216,28.632),(44.835,28.956),(44.966,29.111),(45.349,28.79)],
  [(49.147,34.932),(48.689,35.132),(48.769,35.318),(49.229,35.122)],
  [(51.025,41.693),(50.529,41.759),(50.555,41.96),(51.051,41.899)],
  [(50.149,37.651),(49.67,37.796),(49.729,37.991),(50.208,37.849)],
  [(41.316,24.936),(41.013,25.333),(41.173,25.457),(41.48,25.062)],
  [(49.894,36.863),(49.421,37.024),(49.486,37.216),(49.96,37.059)],
  [(39.621,23.748),(39.351,24.169),(39.521,24.279),(39.794,23.861)],
  [(45.482,28.949),(45.096,29.267),(45.224,29.424),(45.613,29.109)],
  [(50.903,40.874),(50.409,40.956),(50.442,41.156),(50.936,41.079)],
  [(43.514,26.823),(43.167,27.183),(43.313,27.324),(43.663,26.967)],
  [(50.967,41.283),(50.472,41.357),(50.501,41.558),(50.997,41.488)],
  [(44.945,28.319),(44.569,28.649),(44.703,28.802),(45.081,28.475)],
  [(40.985,24.687),(40.688,25.089),(40.851,25.211),(41.151,24.811)],
  [(44.387,27.706),(44.023,28.049),(44.161,28.197),(44.528,27.858)],
  [(49.309,35.313),(48.848,35.505),(48.925,35.693),(49.388,35.505)],
  [(50.832,40.466),(50.34,40.556),(50.375,40.756),(50.868,40.67)],
  [(47.841,32.346),(47.409,32.597),(47.51,32.773),(47.944,32.526)],
  [(45.998,29.597),(45.602,29.902),(45.725,30.063),(46.123,29.761)],
  [(51.12,42.516),(50.622,42.565),(50.641,42.767),(51.139,42.722)],
  [(44.101,27.407),(43.743,27.755),(43.883,27.902),(44.245,27.556)],
  [(50.578,39.25),(50.092,39.364),(50.137,39.562),(50.625,39.452)],
  [(50.481,38.848),(49.996,38.97),(50.045,39.167),(50.53,39.049)],
  [(51.075,42.104),(50.579,42.162),(50.601,42.363),(51.098,42.31)],
  [(49.615,36.083),(49.147,36.26),(49.218,36.45),(49.687,36.277)],
  [(48.624,33.806),(48.176,34.027),(48.265,34.21),(48.715,33.992)],
  [(42.908,26.258),(42.574,26.629),(42.724,26.766),(43.062,26.397)],
  [(47.192,31.287),(46.773,31.559),(46.882,31.73),(47.304,31.461)],
  [(51.211,43.755),(50.712,43.779),(50.721,43.982),(51.221,43.962)],
  [(45.742,29.271),(45.351,29.582),(45.477,29.742),(45.871,29.433)],
  [(41.643,25.189),(41.333,25.582),(41.492,25.708),(41.805,25.318)],
  [(43.214,26.538),(42.873,26.903),(43.021,27.042),(43.365,26.68)],
  [(46.248,29.927),(45.847,30.226),(45.967,30.389),(46.371,30.094)],
  [(50.025,37.256),(49.549,37.409),(49.61,37.602),(50.087,37.453)],
  [(38.559,23.104),(38.31,23.538),(38.486,23.639),(38.738,23.208)],
  [(38.198,22.901),(37.956,23.338),(38.133,23.437),(38.379,23.002)],
  [(37.834,22.704),(37.599,23.145),(37.778,23.241),(38.016,22.801)],
  [(37.466,22.512),(37.239,22.958),(37.42,23.051),(37.65,22.607)],
  [(28.787,19.912),(28.732,20.409),(28.933,20.432),(28.992,19.936)],
  [(35.585,21.649),(35.395,22.111),(35.583,22.189),(35.776,21.728)],
  [(27.136,19.783),(27.113,20.283),(27.316,20.293),(27.342,19.794)],
  [(35.967,21.809),(35.77,22.268),(35.956,22.349),(36.157,21.892)],
  [(34.033,21.07),(33.874,21.544),(34.066,21.61),(34.229,21.137)],
  [(34.814,21.347),(34.64,21.815),(34.829,21.887),(35.008,21.42)],
  [(26.308,19.76),(26.302,20.26),(26.505,20.263),(26.515,19.763)],
  [(27.962,19.834),(27.923,20.333),(28.126,20.349),(28.169,19.851)],
  [(31.643,20.397),(31.531,20.884),(31.729,20.93),(31.845,20.444)],
  [(33.64,20.942),(33.488,21.418),(33.682,21.481),(33.837,21.005)],
  [(28.375,19.87),(28.328,20.368),(28.53,20.388),(28.581,19.89)],
  [(32.046,20.493),(31.926,20.978),(32.123,21.027),(32.247,20.543)],
  [(30.018,20.08),(29.938,20.573),(30.138,20.606),(30.222,20.113)],
  [(26.722,19.768),(26.708,20.268),(26.91,20.275),(26.929,19.775)],
  [(27.549,19.805),(27.519,20.305),(27.721,20.318),(27.756,19.819)],
  [(32.447,20.595),(32.319,21.079),(32.515,21.131),(32.647,20.649)],
  [(32.847,20.704),(32.711,21.185),(32.906,21.241),(33.046,20.761)],
  [(30.833,20.225),(30.737,20.716),(30.936,20.755),(31.036,20.265)],
  [(34.425,21.205),(34.258,21.677),(34.449,21.745),(34.62,21.275)],
  [(29.198,19.961),(29.135,20.457),(29.336,20.484),(29.403,19.988)],
  [(31.239,20.307),(31.135,20.797),(31.333,20.84),(31.441,20.351)],
  [(35.201,21.495),(35.019,21.96),(35.207,22.035),(35.393,21.571)],
  [(29.608,20.017),(29.537,20.512),(29.738,20.542),(29.813,20.048)],
  [(30.426,20.149),(30.338,20.641),(30.538,20.678),(30.63,20.186)],
  [(33.244,20.82),(33.101,21.299),(33.295,21.358),(33.442,20.88)])
R(swg_410_780_25, DevRec, [(-1,0,53,90)])
swg_410_780_25.add(gdstk.FlexPath([(0.25,89.99),(0.25,90.01)], 0.5, ends="flush", simple_path=True, layer=1, datatype=10))  # PinRec
swg_410_780_25.add(gdstk.FlexPath([(51.75,89.99),(51.75,90.01)], 0.5, ends="flush", simple_path=True, layer=1, datatype=10))  # PinRec
swg_410_780_25.add(gdstk.FlexPath([(0.25,0.01),(0.25,-0.01)], 0.5, ends="flush", simple_path=True, layer=1, datatype=10))  # PinRec
swg_410_780_25.add(gdstk.FlexPath([(51.75,0.01),(51.75,-0.01)], 0.5, ends="flush", simple_path=True, layer=1, datatype=10))  # PinRec
swg_410_780_25.add(gdstk.Label('opt1', (0.25,90), layer=1, texttype=10))
swg_410_780_25.add(gdstk.Label('opt2', (51.75,90), layer=1, texttype=10))
swg_410_780_25.add(gdstk.Label('opt3', (0.25,0), layer=1, texttype=10))
swg_410_780_25.add(gdstk.Label('opt4', (51.75,0), layer=1, texttype=10))

lib.write_gds('swg_410_780_25.gds')
